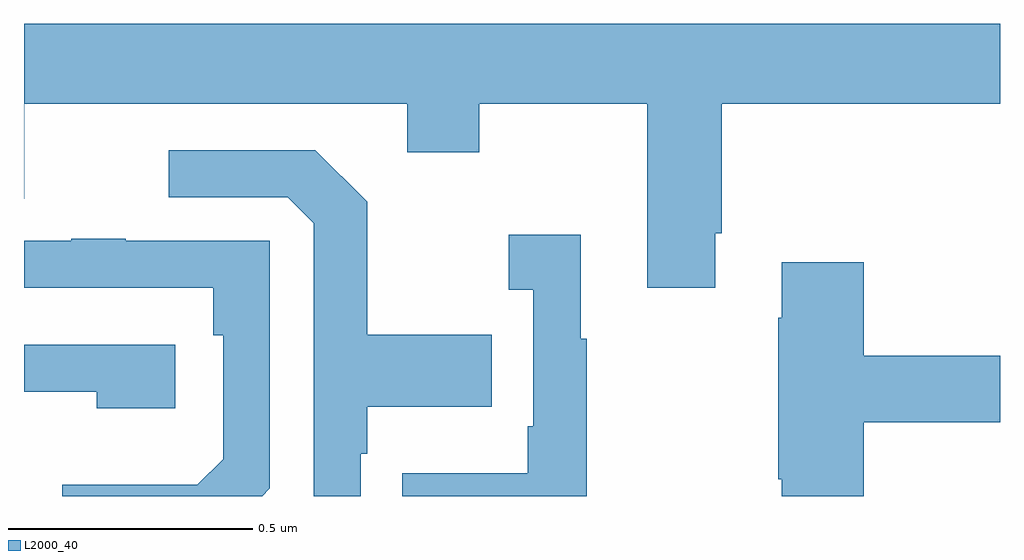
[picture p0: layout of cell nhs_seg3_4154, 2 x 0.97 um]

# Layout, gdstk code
import gdstk
lib = gdstk.Library(unit=1e-6, precision=1e-09)
def P(c, l, *ps):  # polygons
    for p in ps: c.add(gdstk.Polygon(p, *l))
L2000_40 = (2000, 40)

nhs_seg3_4154 = lib.new_cell('nhs_seg3_4154')
P(nhs_seg3_4154, L2000_40, [(163.417,745.939),(163.43,745.939),(163.43,746.204),(164,746.204),(164,746.368),(162,746.368),(162,746.01),(162.001,746.01),(162.001,746.204),(162.785,746.204),(162.785,746.105),(162.933,746.105),(162.933,746.204),(163.277,746.204),(163.277,745.827),(163.417,745.827)],
  [(162.69,745.487),(162.703,745.487),(162.703,745.583),(162.959,745.583),(162.959,745.731),(162.703,745.731),(162.703,746.003),(162.597,746.109),(162.297,746.109),(162.297,746.013),(162.54,746.013),(162.594,745.959),(162.594,745.4),(162.69,745.4)],
  [(163.153,745.723),(163.141,745.723),(163.141,745.936),(162.993,745.936),(162.993,745.823),(163.044,745.823),(163.044,745.543),(163.032,745.543),(163.032,745.447),(162.775,745.447),(162.775,745.4),(163.153,745.4)],
  [(162.504,745.416),(162.504,745.923),(162.209,745.923),(162.209,745.928),(162.097,745.928),(162.097,745.923),(162,745.923),(162,745.827),(162.388,745.827),(162.388,745.73),(162.408,745.73),(162.408,745.476),(162.355,745.423),(162.078,745.423),(162.078,745.4),(162.488,745.4)],
  [(163.721,745.552),(164,745.552),(164,745.688),(163.721,745.688),(163.721,745.879),(163.553,745.879),(163.553,745.766),(163.546,745.766),(163.546,745.435),(163.553,745.435),(163.553,745.4),(163.721,745.4)],
  [(162.31,745.71),(162,745.71),(162,745.614),(162.149,745.614),(162.149,745.58),(162.31,745.58)])

lib.write_gds('nhs_seg3_4154.gds')
